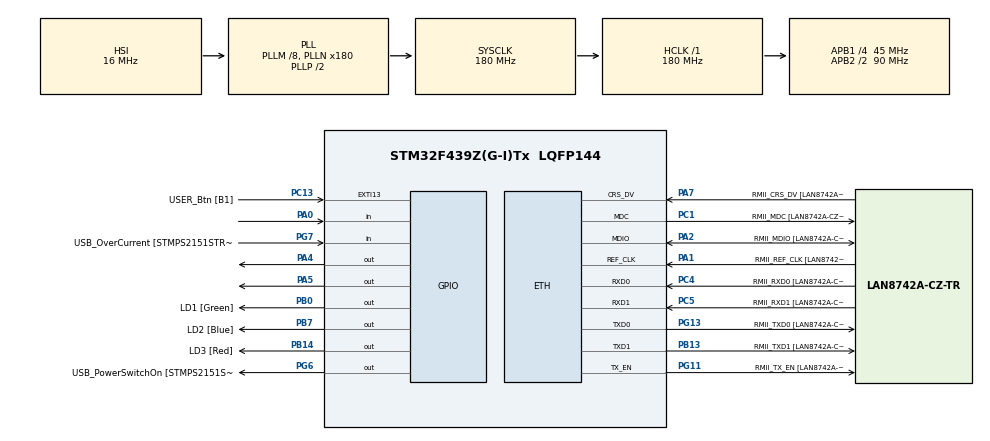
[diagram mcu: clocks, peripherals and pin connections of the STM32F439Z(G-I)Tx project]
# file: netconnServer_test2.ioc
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ETH.MACAddr=00\:80\:E1\:00\:00\:00
ETH.MediaInterface=ETH_MEDIA_INTERFACE_RMII
ETH.PhyAddress=0
ETH.RxMode=ETH_RXINTERRUPT_MODE
FREERTOS.Tasks01=UdsTask,24,128,StartUdsTask,Default,NULL,Dynamic,NULL,NULL;AppTask,24,128,StartAppTask,Default,NULL,Dynamic,NULL,NULL;InitTask,25,128,StartInitTask,Default,NULL,Dynamic,NULL,NULL;RefreshWDGTask,24,128,StartRefreshWDGTask,Default,NULL,Dynamic,NULL,NULL
FREERTOS.configUSE_NEWLIB_REENTRANT=1
HASH.KeySize=17
HASH.SecureHashAlgorithmType=HMAC SHA256
HASH.pKey=00 01 02 03 04 05 06 07 08 09 0A 0B 0C 0D 0E 0F 10
HASH.pKeyInput=000102030405060708090A0B0C0D0E0F10
IWDG.Prescaler=IWDG_PRESCALER_32
IWDG.Reload=4000
LWIP.GATEWAY_ADDRESS=169.254.084.058
LWIP.IP_ADDRESS=169.254.084.057
LWIP.LWIP_DHCP=0
LWIP.LWIP_TCP_SACK_OUT=1
LWIP.MEMP_NUM_TCP_SEG=100
LWIP.MEM_SIZE=21*1024
LWIP.NETMASK_ADDRESS=255.255.000.000
LWIP.PBUF_POOL_BUFSIZE=1500
LWIP.TCP_MSS=1426
LWIP.TCP_SND_BUF=11408
LWIP.TCP_SND_QUEUELEN=100
LWIP.TCP_WND=11408
LWIP.Version=v2.1.2_Cube
Mcu.Family=STM32F4
Mcu.Name=STM32F439Z(G-I)Tx
Mcu.Package=LQFP144
NVIC.ETH_IRQn=true\:5\:0\:false\:false\:true\:true\:false\:true
NVIC.PriorityGroup=NVIC_PRIORITYGROUP_4
NVIC.TIM1_UP_TIM10_IRQn=true\:15\:0\:false\:false\:true\:false\:false\:true
NVIC.TimeBase=TIM1_UP_TIM10_IRQn
NVIC.TimeBaseIP=TIM1
PA0/WKUP.Signal=GPIO_Input
PA1.GPIO_Label=RMII_REF_CLK [LAN8742A-CZ-TR_REFCLK0]
PA1.Mode=RMII
PA1.Signal=ETH_REF_CLK
PA10.GPIO_Label=USB_ID
PA10.Signal=USB_OTG_FS_ID
PA11.GPIO_Label=USB_DM
PA11.Signal=USB_OTG_FS_DM
PA12.GPIO_Label=USB_DP
PA12.Signal=USB_OTG_FS_DP
PA13.GPIO_Label=TMS
PA13.Signal=SYS_JTMS-SWDIO
PA14.GPIO_Label=TCK
PA14.Signal=SYS_JTCK-SWCLK
PA2.GPIO_Label=RMII_MDIO [LAN8742A-CZ-TR_MDIO]
PA2.Mode=RMII
PA2.Signal=ETH_MDIO
PA4.Signal=GPIO_Output
PA5.Signal=GPIO_Output
PA7.GPIO_Label=RMII_CRS_DV [LAN8742A-CZ-TR_CRS_DV]
PA7.Mode=RMII
PA7.Signal=ETH_CRS_DV
PA8.GPIO_Label=USB_SOF [TP1]
PA8.Signal=USB_OTG_FS_SOF
PA9.GPIO_Label=USB_VBUS
PA9.Signal=USB_OTG_FS_VBUS
PB0.GPIO_Label=LD1 [Green]
PB0.Signal=GPIO_Output
PB13.GPIO_Label=RMII_TXD1 [LAN8742A-CZ-TR_TXD1]
PB13.Mode=RMII
PB13.Signal=ETH_TXD1
PB14.GPIO_Label=LD3 [Red]
PB14.Signal=GPIO_Output
PB7.GPIO_Label=LD2 [Blue]
PB7.Signal=GPIO_Output
PC1.GPIO_Label=RMII_MDC [LAN8742A-CZ-TR_MDC]
PC1.Mode=RMII
PC1.Signal=ETH_MDC
PC13.GPIO_Label=USER_Btn [B1]
PC13.Signal=GPXTI13
PC14/OSC32_IN.Signal=RCC_OSC32_IN
PC15/OSC32_OUT.Signal=RCC_OSC32_OUT
PC4.GPIO_Label=RMII_RXD0 [LAN8742A-CZ-TR_RXD0]
PC4.Mode=RMII
PC4.Signal=ETH_RXD0
PC5.GPIO_Label=RMII_RXD1 [LAN8742A-CZ-TR_RXD1]
PC5.Mode=RMII
PC5.Signal=ETH_RXD1
PD8.GPIO_Label=STLK_RX [STM32F103CBT6_PA3]
PD8.Signal=USART3_TX
PD9.GPIO_Label=STLK_TX [STM32F103CBT6_PA2]
PD9.Signal=USART3_RX
PG11.GPIO_Label=RMII_TX_EN [LAN8742A-CZ-TR_TXEN]
PG11.Mode=RMII
PG11.Signal=ETH_TX_EN
PG13.GPIO_Label=RMII_TXD0 [LAN8742A-CZ-TR_TXD0]
PG13.Mode=RMII
PG13.Signal=ETH_TXD0
PG6.GPIO_Label=USB_PowerSwitchOn [STMPS2151STR_EN]
PG6.Signal=GPIO_Output
PG7.GPIO_Label=USB_OverCurrent [STMPS2151STR_FAULT]
PG7.Signal=GPIO_Input
PH0/OSC_IN.GPIO_Label=MCO [STM32F103CBT6_PA8]
PH0/OSC_IN.Mode=HSE-External-Oscillator
PH0/OSC_IN.Signal=RCC_OSC_IN
PH1/OSC_OUT.Mode=HSE-External-Oscillator
PH1/OSC_OUT.Signal=RCC_OSC_OUT
ProjectManager.HeapSize=0x200
ProjectManager.StackSize=0x400
ProjectManager.TargetToolchain=STM32CubeIDE
RCC.48MHZClocksFreq_Value=45000000
RCC.AHBFreq_Value=180000000
RCC.APB1CLKDivider=RCC_HCLK_DIV4
RCC.APB1Freq_Value=45000000
RCC.APB1TimFreq_Value=90000000
RCC.APB2CLKDivider=RCC_HCLK_DIV2
RCC.APB2Freq_Value=90000000
RCC.APB2TimFreq_Value=180000000
RCC.CortexFreq_Value=180000000
RCC.HCLKFreq_Value=180000000
RCC.HSE_VALUE=8000000
RCC.HSI_VALUE=16000000
RCC.LSE_VALUE=32768
RCC.PLLM=8
RCC.PLLMUL=RCC_PLL_MUL9
RCC.PLLN=180
RCC.PLLQ=8
RCC.PRESCALERUSB=RCC_USBCLKSOURCE_PLL_DIV1_5
RCC.SYSCLKFreq_VALUE=180000000
RCC.SYSCLKSource=RCC_SYSCLKSOURCE_PLLCLK
RCC.SYSCLKSourceVirtual=RCC_SYSCLKSOURCE_PLLCLK
RCC.USBFreq_Value=48000000
RCC.VCOOutputFreq_Value=360000000
VP_CRC_VS_CRC.Mode=CRC_Activate
VP_FREERTOS_VS_CMSIS_V2.Mode=CMSIS_V2
VP_HASH_VS_HASH.Mode=HASH_Activate
VP_IWDG_VS_IWDG.Mode=IWDG_Activate
VP_LWIP_VS_Enabled.Mode=Enabled
VP_RNG_VS_RNG.Mode=RNG_Activate
VP_RTC_VS_RTC_Activate.Mode=RTC_Enabled
VP_SYS_VS_tim1.Mode=TIM1
board=NUCLEO-F439ZI

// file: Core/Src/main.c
/* USER CODE BEGIN Header */
/**
  ******************************************************************************
  * @file           : main.c
  * @brief          : Main program body
  ******************************************************************************
  * @attention
  *
  * <h2><center>&copy; Copyright (c) 2023 STMicroelectronics.
  * All rights reserved.</center></h2>
  *
  * This software component is licensed by ST under BSD 3-Clause license,
  * the "License"; You may not use this file except in compliance with the
  * License. You may obtain a copy of the License at:
  *                        opensource.org/licenses/BSD-3-Clause
  *
  ******************************************************************************
  */
/* USER CODE END Header */
#include "main.h"
#include "cmsis_os.h"
#include "crc.h"
#include "hash.h"
#include "iwdg.h"
#include "lwip.h"
#include "rng.h"
#include "rtc.h"
#include "gpio.h"

/* USER CODE BEGIN Includes */
#include "tcp_server.h"
#include "uds_server.h"
#include "buzzer.h"
/* USER CODE END Includes */

void SystemClock_Config(void);
void MX_FREERTOS_Init(void);

int main(void)
{

  /* MCU Configuration--------------------------------------------------------*/

  /* Reset of all peripherals, Initializes the Flash interface and the Systick. */
  HAL_Init();

  /* Configure the system clock */
  SystemClock_Config();

  /* Initialize all configured peripherals */
  MX_GPIO_Init();
  MX_HASH_Init();
  MX_RNG_Init();
  MX_CRC_Init();
  MX_IWDG_Init();
  MX_RTC_Init();

  /* Init scheduler */
  osKernelInitialize();  /* Call init function for freertos objects (in freertos.c) */
  MX_FREERTOS_Init();
  /* Start scheduler */
  osKernelStart();

  /* We should never get here as control is now taken by the scheduler */
  /* Infinite loop */
  while (1)
  {

  }
}

void SystemClock_Config(void)
{
  RCC_OscInitTypeDef RCC_OscInitStruct = {0};
  RCC_ClkInitTypeDef RCC_ClkInitStruct = {0};

  /** Configure the main internal regulator output voltage
  */
  __HAL_RCC_PWR_CLK_ENABLE();
  __HAL_PWR_VOLTAGESCALING_CONFIG(PWR_REGULATOR_VOLTAGE_SCALE1);
  /** Initializes the RCC Oscillators according to the specified parameters
  * in the RCC_OscInitTypeDef structure.
  */
  RCC_OscInitStruct.OscillatorType = RCC_OSCILLATORTYPE_HSI|RCC_OSCILLATORTYPE_LSI;
  RCC_OscInitStruct.HSIState = RCC_HSI_ON;
  RCC_OscInitStruct.HSICalibrationValue = RCC_HSICALIBRATION_DEFAULT;
  RCC_OscInitStruct.LSIState = RCC_LSI_ON;
  RCC_OscInitStruct.PLL.PLLState = RCC_PLL_ON;
  RCC_OscInitStruct.PLL.PLLSource = RCC_PLLSOURCE_HSI;
  RCC_OscInitStruct.PLL.PLLM = 8;
  RCC_OscInitStruct.PLL.PLLN = 180;
  RCC_OscInitStruct.PLL.PLLP = RCC_PLLP_DIV2;
  RCC_OscInitStruct.PLL.PLLQ = 8;
  if (HAL_RCC_OscConfig(&RCC_OscInitStruct) != HAL_OK)
  {
    Error_Handler();
  }
  /** Activate the Over-Drive mode
  */
  if (HAL_PWREx_EnableOverDrive() != HAL_OK)
  {
    Error_Handler();
  }
  /** Initializes the CPU, AHB and APB buses clocks
  */
  RCC_ClkInitStruct.ClockType = RCC_CLOCKTYPE_HCLK|RCC_CLOCKTYPE_SYSCLK
                              |RCC_CLOCKTYPE_PCLK1|RCC_CLOCKTYPE_PCLK2;
  RCC_ClkInitStruct.SYSCLKSource = RCC_SYSCLKSOURCE_PLLCLK;
  RCC_ClkInitStruct.AHBCLKDivider = RCC_SYSCLK_DIV1;
  RCC_ClkInitStruct.APB1CLKDivider = RCC_HCLK_DIV4;
  RCC_ClkInitStruct.APB2CLKDivider = RCC_HCLK_DIV2;

  if (HAL_RCC_ClockConfig(&RCC_ClkInitStruct, FLASH_LATENCY_5) != HAL_OK)
  {
    Error_Handler();
  }
}

void HAL_TIM_PeriodElapsedCallback(TIM_HandleTypeDef *htim)
{
  if (htim->Instance == TIM1) {
    HAL_IncTick();
  }
}

void Error_Handler(void)
{
}

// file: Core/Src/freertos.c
/* USER CODE BEGIN Header */
/**
 ******************************************************************************
 * File Name          : freertos.c
 * Description        : Code for freertos applications
 ******************************************************************************
 * @attention
 *
 * Copyright (c) 2023 STMicroelectronics.
 * All rights reserved.
 *
 * This software is licensed under terms that can be found in the LICENSE file
 * in the root directory of this software component.
 * If no LICENSE file comes with this software, it is provided AS-IS.
 *
 ******************************************************************************
 */
/* USER CODE END Header */

#include "FreeRTOS.h"
#include "task.h"
#include "main.h"
#include "cmsis_os.h"

/* USER CODE BEGIN Includes */
#include "uds_server.h"
#include "ultrasonic.h"
#include "buzzer.h"
#include "rtc.h"
#include "iwdg.h"
/* USER CODE END Includes */

/* Definitions for UdsTask */
osThreadId_t UdsTaskHandle;
const osThreadAttr_t UdsTask_attributes = {
  .name = "UdsTask",
  .stack_size = 128 * 4,
  .priority = (osPriority_t) osPriorityNormal,
};
/* Definitions for AppTask */
osThreadId_t AppTaskHandle;
const osThreadAttr_t AppTask_attributes = {
  .name = "AppTask",
  .stack_size = 128 * 4,
  .priority = (osPriority_t) osPriorityNormal,
};
/* Definitions for InitTask */
osThreadId_t InitTaskHandle;
const osThreadAttr_t InitTask_attributes = {
  .name = "InitTask",
  .stack_size = 128 * 4,
  .priority = (osPriority_t) osPriorityNormal1,
};
/* Definitions for RefreshWDGTask */
osThreadId_t RefreshWDGTaskHandle;
const osThreadAttr_t RefreshWDGTask_attributes = {
  .name = "RefreshWDGTask",
  .stack_size = 128 * 4,
  .priority = (osPriority_t) osPriorityNormal,
};

void StartUdsTask(void *argument);
void StartAppTask(void *argument);
void StartInitTask(void *argument);
void StartRefreshWDGTask(void *argument);

extern void MX_LWIP_Init(void);
void MX_FREERTOS_Init(void); /* (MISRA C 2004 rule 8.1) */

void MX_FREERTOS_Init(void) {

  /* Create the thread(s) */
  /* creation of UdsTask */
  UdsTaskHandle = osThreadNew(StartUdsTask, NULL, &UdsTask_attributes);

  /* creation of AppTask */
  AppTaskHandle = osThreadNew(StartAppTask, NULL, &AppTask_attributes);

  /* creation of InitTask */
  InitTaskHandle = osThreadNew(StartInitTask, NULL, &InitTask_attributes);

  /* creation of RefreshWDGTask */
  RefreshWDGTaskHandle = osThreadNew(StartRefreshWDGTask, NULL, &RefreshWDGTask_attributes);

}

void StartUdsTask(void *argument)
{
  /* init code for LWIP */
  MX_LWIP_Init();
  /* USER CODE BEGIN StartUdsTask */
	UDS_init();
	/* Infinite loop */
	for(;;)
	{
		osDelay(1);
	}
  /* USER CODE END StartUdsTask */
}

void StartAppTask(void *argument)
{
  /* USER CODE BEGIN StartAppTask */
	ultrasonic_init();
	/* Infinite loop */
	for(;;)
	{
		ultrasonic_get_distance();
		if (g_ultrasonic_last_measured_distance <= ULTRASONIC_DISTANCE_2){
			buzzer_on();
			HAL_Delay(200);
			buzzer_off();
			HAL_Delay(200);
		}
		else if (g_ultrasonic_last_measured_distance <= ULTRASONIC_DISTANCE_1) {
			buzzer_on();
			HAL_Delay(400);
			buzzer_off();
			HAL_Delay(400);
		}
		else{
			buzzer_off();
		}

		osDelay(1);
	}
  /* USER CODE END StartAppTask */
}

void StartInitTask(void *argument)
{
  /* USER CODE BEGIN StartInitTask */
	//zero attempt counter
	write_backup_reg(0x00 , 0x00);

	//refresh watchdog
	HAL_IWDG_Refresh(&hiwdg);

	//if you want to revoke root 1
	//	write_backup_reg(0x04, 0x01);
	//if you want to revoke root 2
	//	write_backup_reg(0x05, 0x01);

	//if you want update version
	write_backup_reg(0x1,0x5);
	write_backup_reg(0x2,0x5);
	write_backup_reg(0x3,0x5);

	osThreadTerminate(InitTaskHandle);

	/* Infinite loop */
	for(;;)
	{
		osDelay(1);
	}
  /* USER CODE END StartInitTask */
}

void StartRefreshWDGTask(void *argument)
{
  /* USER CODE BEGIN StartRefreshWDGTask */
	/* Infinite loop */
	for(;;)
	{
		//refresh watchdog
		HAL_IWDG_Refresh(&hiwdg);
		osDelay(2000);
	}
  /* USER CODE END StartRefreshWDGTask */
}
